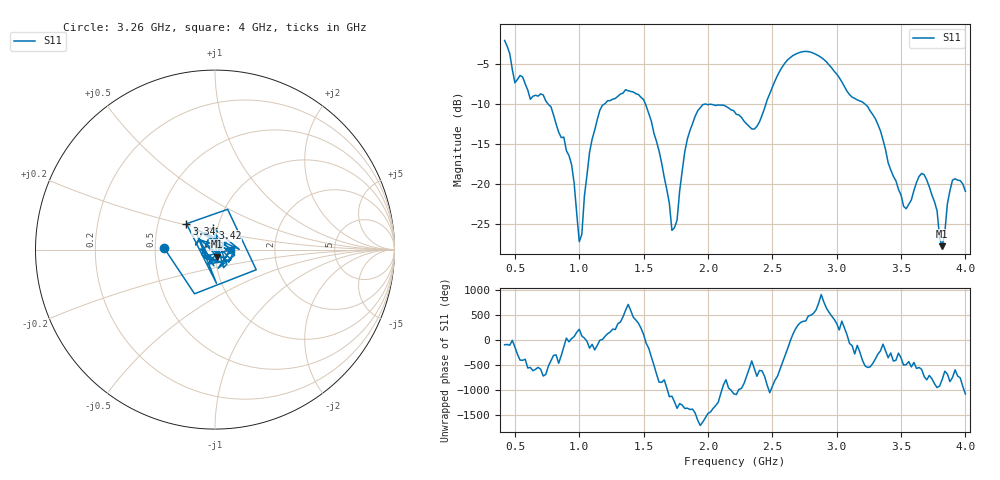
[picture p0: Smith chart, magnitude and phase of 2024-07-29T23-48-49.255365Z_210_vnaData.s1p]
!Created with skrf (http://scikit-rf.org).
# Hz S RI R 50.0
!freq ReS11 ImS11
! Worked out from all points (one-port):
!   180 points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, 420 MHz to 4 GHz, reference 50 ohm
!   lowest |S11| = -27.8 dB at 3.82 GHz (marker M1), VSWR 1.08, Z = 51.1 - j3.96 ohm
!   |S11| at or under -10 dB: 756.7 MHz to 1.198 GHz (441.5 MHz wide, 45.2 % of centre); 1.513 GHz to 2.45 GHz (937 MHz wide, 47.3 % of centre); 3.218 GHz to end of sweep
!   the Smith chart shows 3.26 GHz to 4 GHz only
!   S11 on the Smith chart (normalised r, x): 3.26 GHz: 0.56, +0.01; 3.34 GHz: 0.70, +0.21; 3.42 GHz: 0.95, +0.23; 4 GHz: 1.20, -0.01
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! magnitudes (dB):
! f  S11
! 420 MHz  -2.1
! 500 MHz  -7.4
! 720 MHz  -8.9
! 880 MHz  -14.2
! 940 MHz  -17.6
! 1 GHz  -27.2
! 1.08 GHz  -16.1
! 1.16 GHz  -10.8
! 1.32 GHz  -8.8
! 1.52 GHz  -10.3
! 1.64 GHz  -17.4
! 1.72 GHz  -25.8
! 1.78 GHz  -20.9
! 1.84 GHz  -14.4
! 1.92 GHz  -10.9
! 2.22 GHz  -11.3
! 2.36 GHz  -13.2
! 2.66 GHz  -4.0
! 2.88 GHz  -4.2
! 3.12 GHz  -9.2
! 3.26 GHz  -10.9
! 3.34 GHz  -13.4
! 3.42 GHz  -18.3
! 3.56 GHz  -22.6
! 3.68 GHz  -18.9
! 3.82 GHz  -27.8
! 3.9 GHz  -19.5
! 4 GHz  -20.9
